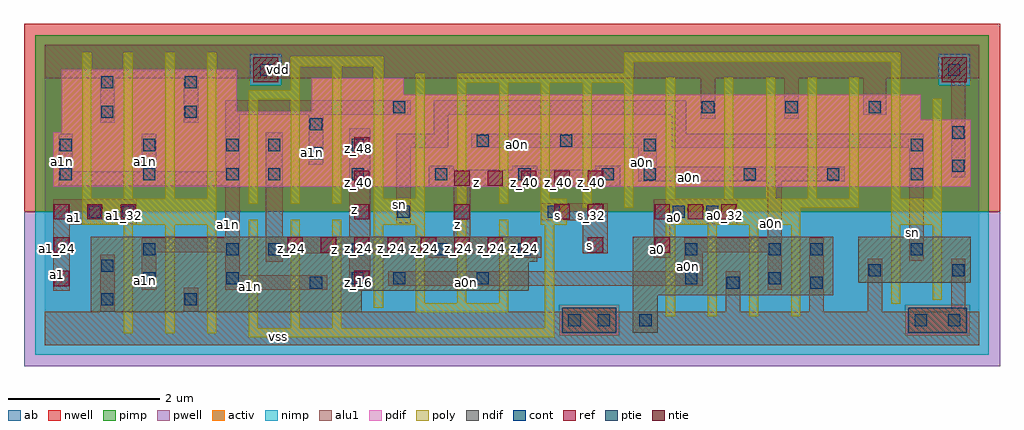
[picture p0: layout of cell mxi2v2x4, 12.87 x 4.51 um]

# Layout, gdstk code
import gdstk
lib = gdstk.Library(unit=1e-6, precision=2.5e-09)
def R(c, l, rs):  # rectangles x0, y0, x1, y1
    for r in rs: c.add(gdstk.rectangle(r[:2], r[2:], *l))
def A(c, l, x, y, w, h, nx, ny, dx, dy):  # array of equal rectangles
    R(c, l, [(x+i*dx, y+j*dy, x+i*dx+w, y+j*dy+h) for i in range(nx) for j in range(ny)])
ndif = (3, 0)
pdif = (4, 0)
ntie = (5, 0)
ptie = (6, 0)
ref = (24, 0)
cont = (25, 0)
pwell = (41, 0)
nwell = (42, 0)
activ = (43, 0)
pimp = (44, 0)
nimp = (45, 0)
poly = (46, 0)
alu1 = (49, 0)
ab = (63, 0)

mxi2v2x4 = lib.new_cell('mxi2v2x4')
R(mxi2v2x4, ndif, [(7.755,0.165,8.085,0.66), (0.605,0.44,4.18,0.715), (7.755,0.66,10.395,1.43), (0.605,0.715,6.38,1.1), (10.725,0.825,12.21,1.43), (0.605,1.1,6.49,1.43)])
R(mxi2v2x4, pdif, [(0.11,2.09,12.21,2.805), (0.22,2.805,12.21,2.97), (0.22,2.97,11.55,3.08), (0.22,3.08,2.53,3.63), (3.52,3.08,11.55,3.3), (3.52,3.3,4.73,3.52)])
R(mxi2v2x4, ntie, [(2.75,3.465,3.08,3.795), (11.825,3.465,12.155,3.795)])
R(mxi2v2x4, ptie, [(6.82,0.165,7.535,0.495), (11.385,0.165,12.155,0.495)])
A(mxi2v2x4, ref, 3.2, 1.22, 0.2, 0.2, 8, 1, 0.44, 0)
A(mxi2v2x4, ref, 0.12, 1.66, 0.2, 0.2, 3, 1, 0.44, 0)
A(mxi2v2x4, ref, 4.08, 1.66, 0.2, 0.2, 3, 1, 1.32, 0)
A(mxi2v2x4, ref, 8.04, 1.66, 0.2, 0.2, 3, 1, 0.44, 0)
A(mxi2v2x4, ref, 5.4, 2.1, 0.2, 0.2, 5, 1, 0.44, 0)
R(mxi2v2x4, ref, [(0.12,0.78,0.32,0.98), (4.08,0.78,4.28,0.98), (0.12,1.22,0.32,1.42), (7.16,1.22,7.36,1.42), (8.04,1.22,8.24,1.42), (7.16,1.66,7.36,1.86), (4.08,2.1,4.28,2.3), (4.08,2.54,4.28,2.74)])
A(mxi2v2x4, cont, 2.945, 1.185, 0.16, 0.16, 4, 1, 1.1, 0)
A(mxi2v2x4, cont, 0.195, 2.175, 0.16, 0.16, 3, 2, 1.1, 0.385)
A(mxi2v2x4, cont, 2.945, 2.175, 0.16, 0.16, 5, 1, 1.1, 0)
A(mxi2v2x4, cont, 9.215, 2.175, 0.16, 0.16, 3, 1, 1.1, 0)
A(mxi2v2x4, cont, 8.665, 3.055, 0.16, 0.16, 3, 1, 1.1, 0)
R(mxi2v2x4, cont, [(6.905,0.25,7.065,0.41), (7.29,0.25,7.45,0.41), (7.84,0.25,8,0.41), (11.47,0.25,11.63,0.41), (11.91,0.25,12.07,0.41), (0.745,0.525,0.905,0.685), (1.845,0.525,2.005,0.685), (3.495,0.745,3.655,0.905), (8.995,0.745,9.155,0.905), (10.095,0.745,10.255,0.905), (1.295,0.8,1.455,0.96), (2.395,0.8,2.555,0.96), (4.045,0.8,4.205,0.96), (4.595,0.8,4.755,0.96), (5.695,0.8,5.855,0.96), (8.445,0.8,8.605,0.96), (9.545,0.8,9.705,0.96), (10.865,0.91,11.025,1.07), (11.965,0.91,12.125,1.07), (0.745,0.965,0.905,1.125), (1.295,1.185,1.455,1.345), (2.395,1.185,2.555,1.345), (8.445,1.185,8.605,1.345), (9.545,1.185,9.705,1.345), (10.095,1.185,10.255,1.345), (11.415,1.185,11.575,1.345), (0.58,1.68,0.74,1.84), (1.02,1.68,1.18,1.84), (4.65,1.68,4.81,1.84), (6.63,1.68,6.79,1.84), (8.28,1.68,8.44,1.84), (8.72,1.68,8.88,1.84), (7.895,2.175,8.055,2.335), (11.965,2.285,12.125,2.445), (3.495,2.45,3.655,2.61), (2.945,2.56,3.105,2.72), (4.045,2.56,4.205,2.72), (7.895,2.56,8.055,2.72), (11.415,2.56,11.575,2.72), (5.695,2.615,5.855,2.775), (6.795,2.615,6.955,2.775), (11.965,2.725,12.125,2.885), (3.495,2.835,3.655,2.995), (0.745,3,0.905,3.16), (1.845,3,2.005,3.16), (4.595,3.055,4.755,3.215), (0.745,3.385,0.905,3.545), (1.845,3.385,2.005,3.545), (2.835,3.55,2.995,3.71), (11.91,3.55,12.07,3.71)])
R(mxi2v2x4, pwell, [(-0.275,-0.275,12.595,1.76)])
R(mxi2v2x4, nwell, [(-0.275,1.76,12.595,4.235)])
R(mxi2v2x4, activ, [(6.82,0.165,7.535,0.495), (7.755,0.165,8.085,0.66), (11.385,0.165,12.155,0.495), (0.605,0.44,4.18,0.715), (7.755,0.66,10.395,1.43), (0.605,0.715,6.38,1.1), (10.725,0.825,12.21,1.43), (0.605,1.1,6.49,1.43), (0.11,2.09,12.21,2.805), (0.22,2.805,12.21,2.97), (0.22,2.97,11.55,3.08), (0.22,3.08,2.53,3.63), (3.52,3.08,11.55,3.3), (3.52,3.3,4.73,3.52), (2.75,3.465,3.08,3.795), (11.825,3.465,12.155,3.795)])
R(mxi2v2x4, pimp, [(6.78,0.125,7.575,0.535), (11.345,0.125,12.195,0.535), (-0.125,1.76,12.445,3.425), (-0.125,3.425,2.71,3.835), (3.12,3.425,11.785,3.835), (12.195,3.425,12.445,3.835), (-0.125,3.835,12.445,4.085)])
R(mxi2v2x4, nimp, [(-0.125,-0.125,12.445,0.125), (-0.125,0.125,6.78,0.535), (7.575,0.125,11.345,0.535), (12.195,0.125,12.445,0.535), (-0.125,0.535,12.445,1.76), (2.71,3.425,3.12,3.835), (11.785,3.425,12.195,3.835)])
A(mxi2v2x4, poly, 1.04, 0.16, 0.12, 1.43, 3, 1, 0.55, 0)
A(mxi2v2x4, poly, 2.69, 0.225, 0.12, 1.43, 3, 1, 0.55, 0)
A(mxi2v2x4, poly, 8.19, 0.38, 0.12, 1.21, 4, 1, 0.55, 0)
A(mxi2v2x4, poly, 0.49, 1.93, 0.12, 1.925, 4, 1, 0.55, 0)
A(mxi2v2x4, poly, 8.96, 1.93, 0.12, 1.595, 4, 1, 0.55, 0)
R(mxi2v2x4, poly, [(2.69,0.105,6.715,0.225), (6.595,0.225,6.715,1.59), (4.89,0.435,6.11,0.555), (4.34,0.49,4.46,1.59), (11.16,0.545,11.28,1.59), (4.89,0.555,5.01,1.59), (5.44,0.555,5.56,1.655), (5.99,0.555,6.11,1.655), (11.71,0.6,11.83,1.59), (0.49,1.59,2.26,1.93), (4.34,1.59,5.01,1.93), (6.54,1.59,6.88,1.93), (8.19,1.59,9.96,1.81), (11.16,1.59,11.83,1.93), (7.09,1.81,7.21,3.46), (7.64,1.81,7.76,3.46), (8.19,1.81,10.73,1.93), (2.69,1.865,2.81,3.24), (3.24,1.865,3.36,3.24), (3.79,1.865,3.91,3.68), (5.44,1.865,5.56,3.46), (5.99,1.865,6.11,3.46), (4.34,1.93,4.46,3.68), (4.89,1.93,5.01,3.58), (6.54,1.93,6.66,3.46), (8.19,1.93,8.31,3.525), (11.16,1.93,11.28,3.735), (11.71,1.93,11.83,3.25), (2.69,3.24,3.36,3.36), (3.24,3.36,3.36,3.68), (5.44,3.46,7.76,3.58), (7.64,3.58,7.76,3.735), (3.24,3.68,4.46,3.8), (7.64,3.735,11.28,3.855)])
A(mxi2v2x4, alu1, 5.06, 2.31, 0.33, 0.055, 3, 1, 1.1, 0)
R(mxi2v2x4, alu1, [(0,0,12.32,0.44), (0.73,0.44,0.92,1.195), (1.83,0.44,2.02,0.755), (8.98,0.44,9.17,0.975), (10.08,0.44,10.27,1.415), (10.85,0.44,11.04,1.14), (11.95,0.44,12.14,1.14), (0.11,0.715,0.33,1.595), (4.015,0.715,4.29,1.21), (1.28,0.73,1.47,1.225), (2.38,0.73,3.725,0.92), (9.53,0.73,9.72,1.225), (4.525,0.785,8.675,0.975), (2.38,0.92,2.57,1.225), (8.43,0.975,8.675,1.225), (2.915,1.1,3.135,1.21), (11.4,1.115,11.59,2.6), (5.06,1.155,5.39,1.21), (6.16,1.155,6.545,1.21), (8.03,1.155,8.25,1.595), (2.915,1.21,6.545,1.43), (7.095,1.21,7.425,1.65), (1.28,1.225,2.57,1.415), (8.43,1.225,9.72,1.415), (2.38,1.415,2.57,2.105), (9.53,1.415,9.72,2.16), (2.915,1.43,3.135,2.805), (4.015,1.43,4.29,2.86), (5.39,1.43,5.61,2.09), (0.11,1.595,1.21,1.925), (8.03,1.595,9.13,1.925), (4.635,1.61,4.825,2.6), (6.545,1.65,7.425,1.87), (5.06,2.09,7.59,2.31), (0.18,2.105,2.57,2.295), (7.825,2.16,10.545,2.35), (11.95,2.215,12.14,3.52), (0.18,2.295,0.37,2.79), (1.28,2.295,1.47,2.79), (2.38,2.295,2.57,3.04), (7.825,2.35,8.07,2.6), (3.48,2.38,3.67,3.04), (4.635,2.6,5.32,2.79), (5.625,2.6,8.07,2.79), (8.265,2.6,11.59,2.79), (5.13,2.79,5.32,3.04), (8.265,2.79,8.455,3.04), (0.73,2.93,0.92,3.52), (1.83,2.93,2.02,3.52), (8.65,2.985,8.84,3.52), (9.75,2.985,9.94,3.52), (2.38,3.04,4.825,3.23), (5.13,3.04,8.455,3.23), (10.795,3.04,11.095,3.52), (0,3.52,12.32,3.96)])
R(mxi2v2x4, ab, [(0,0,12.32,3.96)])
mxi2v2x4.add(gdstk.Label('vss', (3.08,0.11), layer=49, texttype=0))
mxi2v2x4.add(gdstk.Label('sn', (11.4475,1.485), layer=49, texttype=0))
mxi2v2x4.add(gdstk.Label('a0n', (5.5625,0.8325), layer=49, texttype=0))
mxi2v2x4.add(gdstk.Label('a0n', (8.49,1.0375), layer=49, texttype=0))
mxi2v2x4.add(gdstk.Label('a0n', (9.5775,1.6), layer=49, texttype=0))
mxi2v2x4.add(gdstk.Label('a0', (8.085,1.265), layer=49, texttype=0))
mxi2v2x4.add(gdstk.Label('a1n', (2.715,0.7775), layer=49, texttype=0))
mxi2v2x4.add(gdstk.Label('a0', (8.305,1.6775), layer=49, texttype=0))
mxi2v2x4.add(gdstk.Label('s', (7.1775,1.32), layer=49, texttype=0))
mxi2v2x4.add(gdstk.Label('z', (3.8225,1.265), layer=49, texttype=0))
mxi2v2x4.add(gdstk.Label('s', (6.765,1.705), layer=49, texttype=0))
mxi2v2x4.add(gdstk.Label('z', (5.445,1.595), layer=49, texttype=0))
mxi2v2x4.add(gdstk.Label('a0n', (8.505,2.2075), layer=49, texttype=0))
mxi2v2x4.add(gdstk.Label('a0n', (7.885,2.4125), layer=49, texttype=0))
mxi2v2x4.add(gdstk.Label('z', (5.6925,2.145), layer=49, texttype=0))
mxi2v2x4.add(gdstk.Label('sn', (4.6825,1.8575), layer=49, texttype=0))
mxi2v2x4.add(gdstk.Label('a0n', (6.235,2.6475), layer=49, texttype=0))
mxi2v2x4.add(gdstk.Label('z', (4.0825,1.7875), layer=49, texttype=0))
mxi2v2x4.add(gdstk.Label('a1n', (3.5275,2.545), layer=49, texttype=0))
mxi2v2x4.add(gdstk.Label('a1n', (1.3275,0.8525), layer=49, texttype=0))
mxi2v2x4.add(gdstk.Label('a1n', (2.4275,1.5875), layer=49, texttype=0))
mxi2v2x4.add(gdstk.Label('a1', (0.165,0.935), layer=49, texttype=0))
mxi2v2x4.add(gdstk.Label('a1', (0.385,1.6775), layer=49, texttype=0))
mxi2v2x4.add(gdstk.Label('a1n', (1.3275,2.4175), layer=49, texttype=0))
mxi2v2x4.add(gdstk.Label('a1n', (0.2275,2.4175), layer=49, texttype=0))
mxi2v2x4.add(gdstk.Label('vdd', (3.08,3.63), layer=49, texttype=0))
mxi2v2x4.add(gdstk.Label('z_16', (4.13,0.83), layer=24, texttype=0))
mxi2v2x4.add(gdstk.Label('s_32', (7.21,1.71), layer=24, texttype=0))
mxi2v2x4.add(gdstk.Label('z_24', (3.25,1.27), layer=24, texttype=0))
mxi2v2x4.add(gdstk.Label('z_24', (3.69,1.27), layer=24, texttype=0))
mxi2v2x4.add(gdstk.Label('z_24', (4.13,1.27), layer=24, texttype=0))
mxi2v2x4.add(gdstk.Label('z_24', (4.57,1.27), layer=24, texttype=0))
mxi2v2x4.add(gdstk.Label('a1_32', (1.05,1.71), layer=24, texttype=0))
mxi2v2x4.add(gdstk.Label('a1_32', (0.61,1.71), layer=24, texttype=0))
mxi2v2x4.add(gdstk.Label('a1_32', (0.17,1.71), layer=24, texttype=0))
mxi2v2x4.add(gdstk.Label('a1_24', (0.17,1.27), layer=24, texttype=0))
mxi2v2x4.add(gdstk.Label('a1_16', (0.17,0.83), layer=24, texttype=0))
mxi2v2x4.add(gdstk.Label('z_32', (4.13,1.71), layer=24, texttype=0))
mxi2v2x4.add(gdstk.Label('z_40', (4.13,2.15), layer=24, texttype=0))
mxi2v2x4.add(gdstk.Label('z_48', (4.13,2.59), layer=24, texttype=0))
mxi2v2x4.add(gdstk.Label('z_24', (5.01,1.27), layer=24, texttype=0))
mxi2v2x4.add(gdstk.Label('z_24', (5.45,1.27), layer=24, texttype=0))
mxi2v2x4.add(gdstk.Label('z_32', (5.45,1.71), layer=24, texttype=0))
mxi2v2x4.add(gdstk.Label('z_40', (5.45,2.15), layer=24, texttype=0))
mxi2v2x4.add(gdstk.Label('s_24', (7.21,1.27), layer=24, texttype=0))
mxi2v2x4.add(gdstk.Label('a0_32', (8.09,1.71), layer=24, texttype=0))
mxi2v2x4.add(gdstk.Label('a0_32', (8.53,1.71), layer=24, texttype=0))
mxi2v2x4.add(gdstk.Label('s_32', (6.77,1.71), layer=24, texttype=0))
mxi2v2x4.add(gdstk.Label('z_40', (5.89,2.15), layer=24, texttype=0))
mxi2v2x4.add(gdstk.Label('z_40', (6.33,2.15), layer=24, texttype=0))
mxi2v2x4.add(gdstk.Label('z_40', (6.77,2.15), layer=24, texttype=0))
mxi2v2x4.add(gdstk.Label('z_40', (7.21,2.15), layer=24, texttype=0))
mxi2v2x4.add(gdstk.Label('a0_24', (8.09,1.27), layer=24, texttype=0))
mxi2v2x4.add(gdstk.Label('z_24', (5.89,1.27), layer=24, texttype=0))
mxi2v2x4.add(gdstk.Label('z_24', (6.33,1.27), layer=24, texttype=0))
mxi2v2x4.add(gdstk.Label('a0_32', (8.97,1.71), layer=24, texttype=0))

lib.write_gds('mxi2v2x4.gds')
